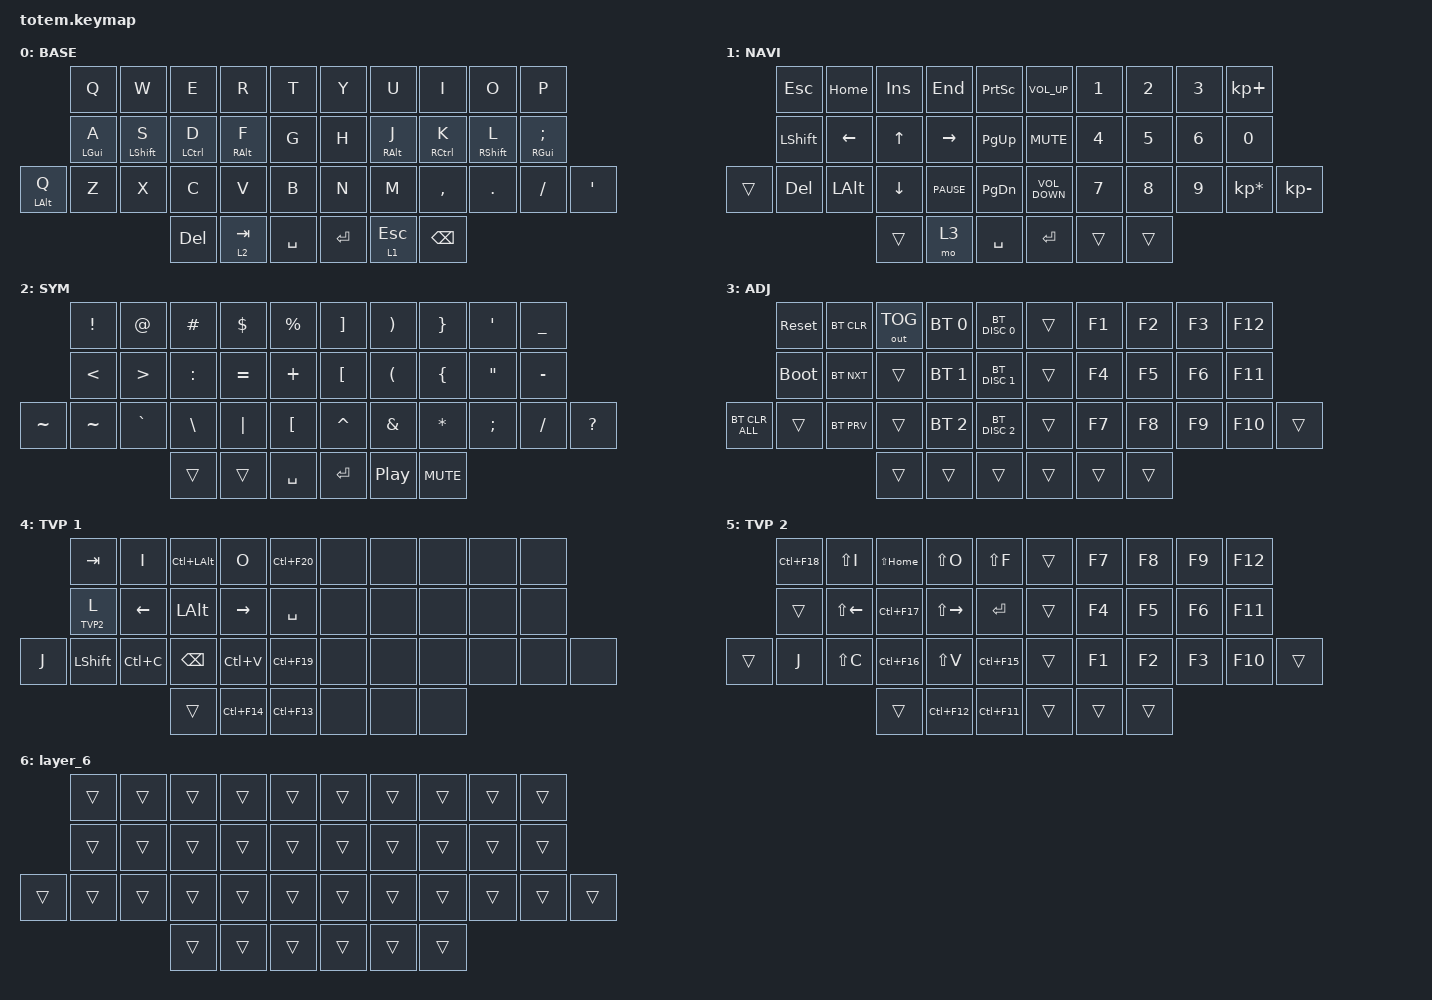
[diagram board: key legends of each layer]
//
//                                                        ▀▀▀▀▀     ▀▀▀▀▀          ▀▀█▀▀
//                                                        ▄▀▀▀▄  ▄  ▄▀▀▀▄  ▄  ▄▀▀▀▄  █  ▄▀▀▀▄
//                                                        █   █  █  █   █  █  █   █  █  █   █
//                                                         ▀▀▀   █   ▀▀▀   █   ▀▀▀   ▀   ▀▀▀
//                                                               █      ▄▄▄█▄▄▄    █   █  
//                                                               ▀      █  █  █     █▄█
//                                                             ▀▀▀▀▀    █  █  █      ▀
//                                                                      ▀  ▀  ▀
//
// ▄▄▄▄▄▄▄▄▄▄▄▄▄▄▄▄▄▄▄▄▄▄▄▄▄▄▄▄▄▄▄▄▄▄▄▄▄▄▄▄▄▄▄▄▄▄▄▄▄▄▄▄▄▄▄▄▄▄▄▄▄▄▄▄▄▄▄▄▄▄▄▄▄▄▄▄▄▄▄▄▄▄▄▄▄▄▄▄▄▄▄▄▄▄▄▄▄▄▄▄▄▄▄▄▄▄▄▄▄▄▄▄▄▄▄▄▄▄▄▄▄▄▄▄▄▄▄▄▄▄▄▄▄▄▄▄▄▄▄▄▄▄▄▄▄▄▄▄▄

#include <behaviors.dtsi>
#include <dt-bindings/zmk/bt.h>
#include <dt-bindings/zmk/keys.h>
#include <dt-bindings/zmk/outputs.h>

#define BASE 0
#define NAV  1
#define SYM  2
#define ADJ  3
#define TVP1 4
#define TVP2 5

&mt {
    quick-tap-ms = <100>;
    global-quick-tap;
    flavor = "tap-preferred";
    tapping-term-ms = <170>;
};

/ {
    combos {
        compatible = "zmk,combos";

        combo_esc {
            timeout-ms = <50>;
            key-positions = <0 1>;
            bindings = <&kp ESC>;
        };

        combo_tvp {
            timeout-ms = <100>;
            key-positions = <11 12 13>;
            bindings = <&tog TVP1>;
        };
    };

    macros {
        gif: gif {
            label = "giphy";
            compatible = "zmk,behavior-macro";
            #binding-cells = <0>;
            bindings =
                <&macro_press>,
                <&kp LSHFT>,
                <&macro_tap>,
                <&kp N2>,
                <&macro_release>,
                <&kp LSHFT>,
                <&macro_tap>,
                <&kp G &kp I &kp F>;
        };
    };

    keymap {
        compatible = "zmk,keymap";

        // ▄▄▄▄▄▄▄▄▄▄▄▄▄▄▄▄▄▄▄▄▄▄▄▄▄▄▄▄▄▄▄▄▄▄▄▄▄▄▄▄▄▄▄▄▄▄▄▄▄▄▄▄▄▄▄▄▄▄▄▄▄▄▄▄▄▄▄▄▄▄▄▄▄▄▄▄▄▄▄▄▄▄▄▄▄▄▄▄▄▄▄▄▄▄▄▄▄▄▄▄▄▄▄▄▄▄▄▄▄▄▄▄▄▄▄▄▄▄▄▄▄▄▄▄▄▄▄▄▄▄▄▄▄▄▄▄▄▄▄▄▄▄▄▄▄▄▄▄▄

        base_layer {
            // ┏━━━━━━━━━━━━━━━━━━━━━━━━━━━━━━━━━━━━━━━┓

            label = "BASE";

            // ┗━━━━━━━━━━━━━━━━━━━━━━━━━━━━━━━━━━━━━━━┛
            //             ┏━━━━━━━━━━━┳━━━━━━━━━━━┳━━━━━━━━━━━┳━━━━━━━━━━━┳━━━━━━━━━━━┓   ┏━━━━━━━━━━━┳━━━━━━━━━━━┳━━━━━━━━━━━┳━━━━━━━━━━━┳━━━━━━━━━━━┓
            //             ┃     Q     ┃     W     ┃     F     ┃     P     ┃     G     ┃   ┃     J     ┃     L     ┃     U     ┃     Y     ┃     ;     ┃
            //             ┣━━━━━━━━━━━╋━━━━━━━━━━━╋━━━━━━━━━━━╋━━━━━━━━━━━╋━━━━━━━━━━━┫   ┣━━━━━━━━━━━╋━━━━━━━━━━━╋━━━━━━━━━━━╋━━━━━━━━━━━╋━━━━━━━━━━━┫
            //             ┃     A     ┃     R     ┃     S     ┃     T     ┃     D     ┃   ┃     H     ┃     N     ┃     E     ┃     I     ┃     O     ┃
            // ┏━━━━━━━━━━━╋━━━━━━━━━━━╋━━━━━━━━━━━╋━━━━━━━━━━━╋━━━━━━━━━━━╋━━━━━━━━━━━┫   ┣━━━━━━━━━━━╋━━━━━━━━━━━╋━━━━━━━━━━━╋━━━━━━━━━━━╋━━━━━━━━━━━╋━━━━━━━━━━━┓
            // ┃     Q     ┃     Z     ┃     X     ┃     C     ┃     V     ┃     B     ┃   ┃     K     ┃     M     ┃     ,     ┃     .     ┃     /     ┃     '     ┃
            // ┗━━━━━━━━━━━┻━━━━━━━━━━━┻━━━━━━━━━━━╋━━━━━━━━━━━╋━━━━━━━━━━━╋━━━━━━━━━━━┫   ┣━━━━━━━━━━━╋━━━━━━━━━━━╋━━━━━━━━━━━╋━━━━━━━━━━━┻━━━━━━━━━━━┻━━━━━━━━━━━┛
            //                                     ┃    DEL    ┃    TAB    ┃    SPC    ┃   ┃   ENTER   ┃           ┃   BSPC    ┃
            //                                     ┗━━━━━━━━━━━┻━━━━━━━━━━━┻━━━━━━━━━━━┛   ┗━━━━━━━━━━━┻━━━━━━━━━━━┻━━━━━━━━━━━┛

            bindings = <
            &kp Q       &kp W         &kp E        &kp R       &kp T        &kp Y    &kp U       &kp I        &kp O         &kp P
            &mt LGUI A  &mt LSHIFT S  &mt LCTRL D  &mt RALT F  &kp G        &kp H    &mt RALT J  &mt RCTRL K  &mt RSHIFT L  &mt RGUI SEMI
&mt LALT Q  &kp Z       &kp X         &kp C        &kp V       &kp B        &kp N    &kp M       &kp COMMA    &kp DOT       &kp FSLH       &kp SQT
                                      &kp DEL      &lt 2 TAB   &kp SPACE    &kp RET  &lt 1 ESC   &kp BSPC
            >;
        };

        // ▄▄▄▄▄▄▄▄▄▄▄▄▄▄▄▄▄▄▄▄▄▄▄▄▄▄▄▄▄▄▄▄▄▄▄▄▄▄▄▄▄▄▄▄▄▄▄▄▄▄▄▄▄▄▄▄▄▄▄▄▄▄▄▄▄▄▄▄▄▄▄▄▄▄▄▄▄▄▄▄▄▄▄▄▄▄▄▄▄▄▄▄▄▄▄▄▄▄▄▄▄▄▄▄▄▄▄▄▄▄▄▄▄▄▄▄▄▄▄▄▄▄▄▄▄▄▄▄▄▄▄▄▄▄▄▄▄▄▄▄▄▄▄▄▄▄▄▄▄

        nav_layer {
            // ┏━━━━━━━━━━━━━━━━━━━━━━━━━━━━━━━━━━━━━━━┓

            label = "NAVI";

            // ┗━━━━━━━━━━━━━━━━━━━━━━━━━━━━━━━━━━━━━━━┛
            //             ┏━━━━━━━━━━━┳━━━━━━━━━━━┳━━━━━━━━━━━┳━━━━━━━━━━━┳━━━━━━━━━━━┓   ┏━━━━━━━━━━━┳━━━━━━━━━━━┳━━━━━━━━━━━┳━━━━━━━━━━━┳━━━━━━━━━━━┓
            //             ┃           ┃           ┃     UP    ┃           ┃     {     ┃   ┃     }     ┃     7     ┃     8     ┃     9     ┃     +     ┃
            //             ┣━━━━━━━━━━━╋━━━━━━━━━━━╋━━━━━━━━━━━╋━━━━━━━━━━━╋━━━━━━━━━━━┫   ┣━━━━━━━━━━━╋━━━━━━━━━━━╋━━━━━━━━━━━╋━━━━━━━━━━━╋━━━━━━━━━━━┫
            //             ┃   SHIFT   ┃   LEFT    ┃    DOWN   ┃   RIGHT   ┃     [     ┃   ┃     ]     ┃     4     ┃     5     ┃     6     ┃     -     ┃
            // ┏━━━━━━━━━━━╋━━━━━━━━━━━╋━━━━━━━━━━━╋━━━━━━━━━━━╋━━━━━━━━━━━╋━━━━━━━━━━━┫   ┣━━━━━━━━━━━╋━━━━━━━━━━━╋━━━━━━━━━━━╋━━━━━━━━━━━╋━━━━━━━━━━━╋━━━━━━━━━━━┓
            // ┃           ┃           ┃   P UP    ┃  C LOCK   ┃  P DOWN   ┃     (     ┃   ┃     )     ┃     1     ┃     2     ┃     3     ┃     *     ┃           ┃
            // ┗━━━━━━━━━━━┻━━━━━━━━━━━┻━━━━━━━━━━━╋━━━━━━━━━━━╋━━━━━━━━━━━╋━━━━━━━━━━━┫   ┣━━━━━━━━━━━╋━━━━━━━━━━━╋━━━━━━━━━━━╋━━━━━━━━━━━┻━━━━━━━━━━━┻━━━━━━━━━━━┛
            //                                     ┃           ┃    TAB    ┃    SPC    ┃   ┃    DEL    ┃     0     ┃           ┃
            //                                     ┗━━━━━━━━━━━┻━━━━━━━━━━━┻━━━━━━━━━━━┛   ┗━━━━━━━━━━━┻━━━━━━━━━━━┻━━━━━━━━━━━┛

            bindings = <
        &kp ESC    &kp HOME  &kp INSERT  &kp END      &kp PRINTSCREEN    &kp C_VOLUME_UP    &kp NUMBER_1  &kp NUMBER_2  &kp NUMBER_3  &kp KP_PLUS
        &kp LSHFT  &kp LEFT  &kp UP      &kp RIGHT    &kp PAGE_UP        &kp K_MUTE         &kp NUMBER_4  &kp NUMBER_5  &kp NUMBER_6  &kp N0
&trans  &kp DEL    &kp LALT  &kp DOWN    &kp C_PAUSE  &kp PAGE_DOWN      &kp C_VOLUME_DOWN  &kp N7        &kp N8        &kp N9        &kp KP_MULTIPLY  &kp KP_SUBTRACT
                             &trans      &mo 3        &kp SPACE          &kp ENTER          &trans        &trans
            >;
        };

        // ▄▄▄▄▄▄▄▄▄▄▄▄▄▄▄▄▄▄▄▄▄▄▄▄▄▄▄▄▄▄▄▄▄▄▄▄▄▄▄▄▄▄▄▄▄▄▄▄▄▄▄▄▄▄▄▄▄▄▄▄▄▄▄▄▄▄▄▄▄▄▄▄▄▄▄▄▄▄▄▄▄▄▄▄▄▄▄▄▄▄▄▄▄▄▄▄▄▄▄▄▄▄▄▄▄▄▄▄▄▄▄▄▄▄▄▄▄▄▄▄▄▄▄▄▄▄▄▄▄▄▄▄▄▄▄▄▄▄▄▄▄▄▄▄▄▄▄▄▄

        sim_layer {
            // ┏━━━━━━━━━━━━━━━━━━━━━━━━━━━━━━━━━━━━━━━┓

            label = "SYM";

            // ┗━━━━━━━━━━━━━━━━━━━━━━━━━━━━━━━━━━━━━━━┛
            //             ┏━━━━━━━━━━━┳━━━━━━━━━━━┳━━━━━━━━━━━┳━━━━━━━━━━━┳━━━━━━━━━━━┓   ┏━━━━━━━━━━━┳━━━━━━━━━━━┳━━━━━━━━━━━┳━━━━━━━━━━━┳━━━━━━━━━━━┓
            //             ┃     !     ┃     @     ┃     #     ┃     $     ┃     %     ┃   ┃     ˆ     ┃     &     ┃     *     ┃     '     ┃     "     ┃
            //             ┣━━━━━━━━━━━╋━━━━━━━━━━━╋━━━━━━━━━━━╋━━━━━━━━━━━╋━━━━━━━━━━━┫   ┣━━━━━━━━━━━╋━━━━━━━━━━━╋━━━━━━━━━━━╋━━━━━━━━━━━╋━━━━━━━━━━━┫
            //             ┃     Ä     ┃           ┃    SZ     ┃           ┃           ┃   ┃   MUTE    ┃   YEN     ┃   EURO    ┃  POUND    ┃     Ö     ┃
            // ┏━━━━━━━━━━━╋━━━━━━━━━━━╋━━━━━━━━━━━╋━━━━━━━━━━━╋━━━━━━━━━━━╋━━━━━━━━━━━┫   ┣━━━━━━━━━━━╋━━━━━━━━━━━╋━━━━━━━━━━━╋━━━━━━━━━━━╋━━━━━━━━━━━╋━━━━━━━━━━━┓
            // ┃           ┃  EMAIL1   ┃  EMAIL2   ┃           ┃           ┃           ┃   ┃   VOL-    ┃   VOL+    ┃   LAST    ┃   NEXT    ┃     \     ┃           ┃
            // ┗━━━━━━━━━━━┻━━━━━━━━━━━┻━━━━━━━━━━━╋━━━━━━━━━━━╋━━━━━━━━━━━╋━━━━━━━━━━━┫   ┣━━━━━━━━━━━╋━━━━━━━━━━━╋━━━━━━━━━━━╋━━━━━━━━━━━┻━━━━━━━━━━━┻━━━━━━━━━━━┛
            //                                     ┃           ┃    GIF    ┃    ADJ    ┃   ┃           ┃           ┃           ┃
            //                                     ┗━━━━━━━━━━━┻━━━━━━━━━━━┻━━━━━━━━━━━┛   ┗━━━━━━━━━━━┻━━━━━━━━━━━┻━━━━━━━━━━━┛

            bindings = <
           &kp EXCLAMATION  &kp AT            &kp HASH       &kp DOLLAR  &kp PERCENT         &kp RIGHT_BRACKET  &kp RIGHT_PARENTHESIS  &kp RIGHT_BRACE  &kp SQT            &kp UNDERSCORE
           &kp LESS_THAN    &kp GREATER_THAN  &kp COLON      &kp EQUAL   &kp PLUS            &kp LEFT_BRACKET   &kp LEFT_PARENTHESIS   &kp LEFT_BRACE   &kp DOUBLE_QUOTES  &kp MINUS
&kp TILDE  &kp TILDE        &kp GRAVE         &kp BACKSLASH  &kp PIPE    &kp LEFT_BRACKET    &kp CARET          &kp AMPERSAND          &kp ASTRK        &kp SEMICOLON      &kp SLASH       &kp QUESTION
                                              &trans         &trans      &kp SPACE           &kp ENTER          &kp C_PP               &kp K_MUTE
            >;
        };

        // ▄▄▄▄▄▄▄▄▄▄▄▄▄▄▄▄▄▄▄▄▄▄▄▄▄▄▄▄▄▄▄▄▄▄▄▄▄▄▄▄▄▄▄▄▄▄▄▄▄▄▄▄▄▄▄▄▄▄▄▄▄▄▄▄▄▄▄▄▄▄▄▄▄▄▄▄▄▄▄▄▄▄▄▄▄▄▄▄▄▄▄▄▄▄▄▄▄▄▄▄▄▄▄▄▄▄▄▄▄▄▄▄▄▄▄▄▄▄▄▄▄▄▄▄▄▄▄▄▄▄▄▄▄▄▄▄▄▄▄▄▄▄▄▄▄▄▄▄▄

        adjust_layer {
            // ┏━━━━━━━━━━━━━━━━━━━━━━━━━━━━━━━━━━━━━━━┓

            label = "ADJ";

            // ┗━━━━━━━━━━━━━━━━━━━━━━━━━━━━━━━━━━━━━━━┛
            //             ┏━━━━━━━━━━━┳━━━━━━━━━━━┳━━━━━━━━━━━┳━━━━━━━━━━━┳━━━━━━━━━━━┓   ┏━━━━━━━━━━━┳━━━━━━━━━━━┳━━━━━━━━━━━┳━━━━━━━━━━━┳━━━━━━━━━━━┓
            //             ┃   RESET   ┃ BT CLEAR  ┃  OUT TOG  ┃           ┃           ┃   ┃           ┃    F7     ┃    F8     ┃    F9     ┃    F12    ┃
            //             ┣━━━━━━━━━━━╋━━━━━━━━━━━╋━━━━━━━━━━━╋━━━━━━━━━━━╋━━━━━━━━━━━┫   ┣━━━━━━━━━━━╋━━━━━━━━━━━╋━━━━━━━━━━━╋━━━━━━━━━━━╋━━━━━━━━━━━┫
            //             ┃ BOOTLOAD  ┃ BT NEXT   ┃           ┃           ┃           ┃   ┃           ┃    F4     ┃    F5     ┃    F6     ┃    F11    ┃
            // ┏━━━━━━━━━━━╋━━━━━━━━━━━╋━━━━━━━━━━━╋━━━━━━━━━━━╋━━━━━━━━━━━╋━━━━━━━━━━━┫   ┣━━━━━━━━━━━╋━━━━━━━━━━━╋━━━━━━━━━━━╋━━━━━━━━━━━╋━━━━━━━━━━━╋━━━━━━━━━━━┓
            // ┃           ┃           ┃ BT PREV   ┃           ┃           ┃           ┃   ┃           ┃    F1     ┃    F2     ┃    F3     ┃    F10    ┃           ┃
            // ┗━━━━━━━━━━━┻━━━━━━━━━━━┻━━━━━━━━━━━╋━━━━━━━━━━━╋━━━━━━━━━━━╋━━━━━━━━━━━┫   ┣━━━━━━━━━━━╋━━━━━━━━━━━╋━━━━━━━━━━━╋━━━━━━━━━━━┻━━━━━━━━━━━┻━━━━━━━━━━━┛
            //                                     ┃           ┃           ┃           ┃   ┃           ┃           ┃           ┃
            //                                     ┗━━━━━━━━━━━┻━━━━━━━━━━━┻━━━━━━━━━━━┛   ┗━━━━━━━━━━━┻━━━━━━━━━━━┻━━━━━━━━━━━┛

            bindings = <
                &sys_reset   &bt BT_CLR  &out OUT_TOG  &bt BT_SEL 0  &bt BT_DISC 0    &trans  &kp F1  &kp F2  &kp F3   &kp F12
                &bootloader  &bt BT_NXT  &trans        &bt BT_SEL 1  &bt BT_DISC 1    &trans  &kp F4  &kp F5  &kp F6  &kp F11
&bt BT_CLR_ALL  &trans       &bt BT_PRV  &trans        &bt BT_SEL 2  &bt BT_DISC 2    &trans  &kp F7  &kp F8  &kp F9  &kp F10  &trans
                                         &trans        &trans        &trans           &trans  &trans  &trans
            >;
        };

        // ▄▄▄▄▄▄▄▄▄▄▄▄▄▄▄▄▄▄▄▄▄▄▄▄▄▄▄▄▄▄▄▄▄▄▄▄▄▄▄▄▄▄▄▄▄▄▄▄▄▄▄▄▄▄▄▄▄▄▄▄▄▄▄▄▄▄▄▄▄▄▄▄▄▄▄▄▄▄▄▄▄▄▄▄▄▄▄▄▄▄▄▄▄▄▄▄▄▄▄▄▄▄▄▄▄▄▄▄▄▄▄▄▄▄▄▄▄▄▄▄▄▄▄▄▄▄▄▄▄▄▄▄▄▄▄▄▄▄▄▄▄▄▄▄▄▄▄▄▄

        tvp1_layer {
            // ┏━━━━━━━━━━━━━━━━━━━━━━━━━━━━━━━━━━━━━━━┓

            label = "TVP 1";

            // ┗━━━━━━━━━━━━━━━━━━━━━━━━━━━━━━━━━━━━━━━┛
            //             ┏━━━━━━━━━━━┳━━━━━━━━━━━┳━━━━━━━━━━━┳━━━━━━━━━━━┳━━━━━━━━━━━┓   ┏━━━━━━━━━━━┳━━━━━━━━━━━┳━━━━━━━━━━━┳━━━━━━━━━━━┳━━━━━━━━━━━┓
            //             ┃ NEXT FILE ┃ MARK IN   ┃ ROTATE    ┃ MARK OUT  ┃ SHOW SNAP ┃   ┃           ┃           ┃           ┃           ┃           ┃
            //             ┣━━━━━━━━━━━╋━━━━━━━━━━━╋━━━━━━━━━━━╋━━━━━━━━━━━╋━━━━━━━━━━━┫   ┣━━━━━━━━━━━╋━━━━━━━━━━━╋━━━━━━━━━━━╋━━━━━━━━━━━╋━━━━━━━━━━━┫
            //             ┃ TVP II    ┃ LEFT      ┃ PAN       ┃ RIGHT     ┃ PLAY/FLIP ┃   ┃           ┃           ┃           ┃           ┃           ┃
            // ┏━━━━━━━━━━━╋━━━━━━━━━━━╋━━━━━━━━━━━╋━━━━━━━━━━━╋━━━━━━━━━━━╋━━━━━━━━━━━┫   ┣━━━━━━━━━━━╋━━━━━━━━━━━╋━━━━━━━━━━━╋━━━━━━━━━━━╋━━━━━━━━━━━╋━━━━━━━━━━━┓
            // ┃ FULLSCR   ┃ SHIFT     ┃ COPY      ┃ DELETE    ┃ PASTE     ┃ IMG MARK  ┃   ┃           ┃           ┃           ┃           ┃           ┃           ┃
            // ┗━━━━━━━━━━━┻━━━━━━━━━━━┻━━━━━━━━━━━╋━━━━━━━━━━━╋━━━━━━━━━━━╋━━━━━━━━━━━┫   ┣━━━━━━━━━━━╋━━━━━━━━━━━╋━━━━━━━━━━━╋━━━━━━━━━━━┻━━━━━━━━━━━┻━━━━━━━━━━━┛
            //                                     ┃           ┃ UNDO/SAVE ┃  SEL/MOV  ┃   ┃           ┃           ┃           ┃
            //                                     ┗━━━━━━━━━━━┻━━━━━━━━━━━┻━━━━━━━━━━━┛   ┗━━━━━━━━━━━┻━━━━━━━━━━━┻━━━━━━━━━━━┛

            bindings = <
       &kp TAB     &kp I      &kp LC(LALT)  &kp O        &kp LC(F20)    &none  &none  &none  &none  &none
       &lt TVP2 L  &kp LEFT   &kp LALT      &kp RIGHT    &kp SPACE      &none  &none  &none  &none  &none
&kp J  &kp LSHFT   &kp LC(C)  &kp BSPC      &kp LC(V)    &kp LC(F19)    &none  &none  &none  &none  &none  &none
                              &trans        &kp LC(F14)  &kp LC(F13)    &none  &none  &none
            >;
        };

        // ▄▄▄▄▄▄▄▄▄▄▄▄▄▄▄▄▄▄▄▄▄▄▄▄▄▄▄▄▄▄▄▄▄▄▄▄▄▄▄▄▄▄▄▄▄▄▄▄▄▄▄▄▄▄▄▄▄▄▄▄▄▄▄▄▄▄▄▄▄▄▄▄▄▄▄▄▄▄▄▄▄▄▄▄▄▄▄▄▄▄▄▄▄▄▄▄▄▄▄▄▄▄▄▄▄▄▄▄▄▄▄▄▄▄▄▄▄▄▄▄▄▄▄▄▄▄▄▄▄▄▄▄▄▄▄▄▄▄▄▄▄▄▄▄▄▄▄▄▄

        tvp2_layer {
            // ┏━━━━━━━━━━━━━━━━━━━━━━━━━━━━━━━━━━━━━━━┓

            label = "TVP 2";

            // ┗━━━━━━━━━━━━━━━━━━━━━━━━━━━━━━━━━━━━━━━┛
            //             ┏━━━━━━━━━━━┳━━━━━━━━━━━┳━━━━━━━━━━━┳━━━━━━━━━━━┳━━━━━━━━━━━┓   ┏━━━━━━━━━━━┳━━━━━━━━━━━┳━━━━━━━━━━━┳━━━━━━━━━━━┳━━━━━━━━━━━┓
            //             ┃ SOLO      ┃ TOGGLE IN ┃ RESET ROT ┃ TOGGLE OUT┃ TAKE SNAP ┃   ┃           ┃           ┃           ┃           ┃           ┃
            //             ┣━━━━━━━━━━━╋━━━━━━━━━━━╋━━━━━━━━━━━╋━━━━━━━━━━━╋━━━━━━━━━━━┫   ┣━━━━━━━━━━━╋━━━━━━━━━━━╋━━━━━━━━━━━╋━━━━━━━━━━━╋━━━━━━━━━━━┫
            //             ┃ ---       ┃ LAST KEY  ┃ NEW KEY   ┃ NEXT KEY  ┃ ENTER     ┃   ┃           ┃           ┃           ┃           ┃           ┃
            // ┏━━━━━━━━━━━╋━━━━━━━━━━━╋━━━━━━━━━━━╋━━━━━━━━━━━╋━━━━━━━━━━━╋━━━━━━━━━━━┫   ┣━━━━━━━━━━━╋━━━━━━━━━━━╋━━━━━━━━━━━╋━━━━━━━━━━━╋━━━━━━━━━━━╋━━━━━━━━━━━┓
            // ┃           ┃ FULLSCR   ┃ CPY2BRUSH ┃ DEL HEAD  ┃ PSTinPLACE┃ BOOK MARK ┃   ┃           ┃           ┃           ┃           ┃           ┃           ┃
            // ┗━━━━━━━━━━━┻━━━━━━━━━━━┻━━━━━━━━━━━╋━━━━━━━━━━━╋━━━━━━━━━━━╋━━━━━━━━━━━┫   ┣━━━━━━━━━━━╋━━━━━━━━━━━╋━━━━━━━━━━━╋━━━━━━━━━━━┻━━━━━━━━━━━┻━━━━━━━━━━━┛
            //                                     ┃           ┃ REDO/SAV1 ┃TRANS/WARP ┃   ┃           ┃           ┃           ┃
            //                                     ┗━━━━━━━━━━━┻━━━━━━━━━━━┻━━━━━━━━━━━┛   ┗━━━━━━━━━━━┻━━━━━━━━━━━┻━━━━━━━━━━━┛

            bindings = <
        &kp LC(F18)  &kp LS(I)     &kp LS(HOME)  &kp LS(O)      &kp LS(F)      &trans  &kp F7  &kp F8  &kp F9  &kp F12
        &trans       &kp LS(LEFT)  &kp LC(F17)   &kp LS(RIGHT)  &kp RET        &trans  &kp F4  &kp F5  &kp F6  &kp F11
&trans  &kp J        &kp LS(C)     &kp LC(F16)   &kp LS(V)      &kp LC(F15)    &trans  &kp F1  &kp F2  &kp F3  &kp F10  &trans
                                   &trans        &kp LC(F12)    &kp LC(F11)    &trans  &trans  &trans
            >;
        };

        layer_6 {
            bindings = <
        &trans  &trans  &trans  &trans  &trans    &trans  &trans  &trans  &trans  &trans
        &trans  &trans  &trans  &trans  &trans    &trans  &trans  &trans  &trans  &trans
&trans  &trans  &trans  &trans  &trans  &trans    &trans  &trans  &trans  &trans  &trans  &trans
                        &trans  &trans  &trans    &trans  &trans  &trans
            >;
        };
    };
};
